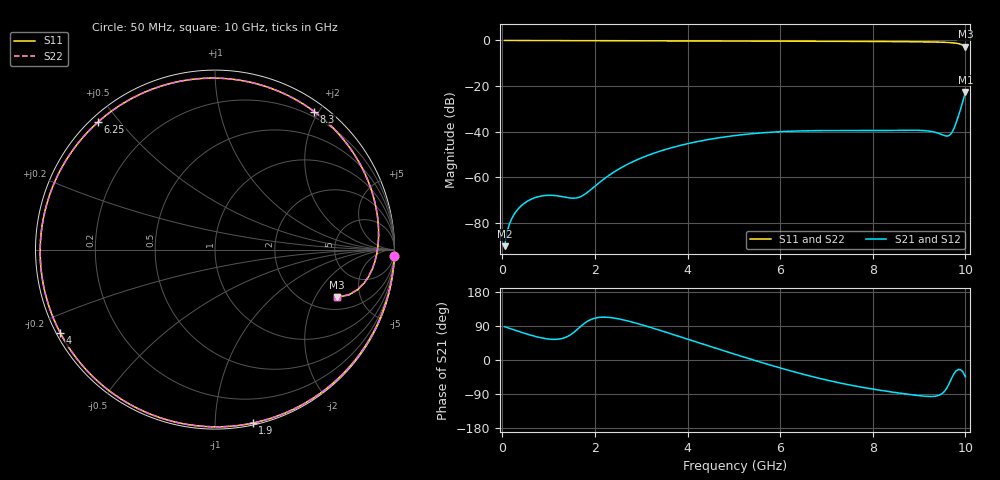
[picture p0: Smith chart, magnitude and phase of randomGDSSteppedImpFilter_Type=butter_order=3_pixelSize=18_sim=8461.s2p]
! freq	dB(S11)	phase(S11)	dB(S12)	phase(S12)
!  dB(S21)	phase(S21)	dB(S22)	phase(S22)
!S-par simulation data
#  GHz  S  DB  R 50
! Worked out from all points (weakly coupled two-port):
!   200 points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, 50 MHz to 10 GHz, reference 50 ohm
!   highest |S21| = -22.57 dB at 10 GHz (marker M1); lowest = -90.1 dB at 50 MHz (marker M2)
!   lowest |S11| = -2.7 dB at 10 GHz (marker M3), VSWR 6.37, Z = 135 - j153 ohm
!   |S11| at or under -10 dB: nowhere
!   |S22| runs from -2.8 to 0.0 dB; largest |S21 - S12| = 0
!   S11 on the Smith chart (normalised r, x): 50 MHz: 0, -53; 1.9 GHz: 0.01, -1.24; 4 GHz: 0.01, -0.25; 6.25 GHz: 0.02, +0.44; 8.3 GHz: 0.13, +1.94; 10 GHz: 2.70, -3.06
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0.05  -0.00 -2.2  -90.08 87.9  -90.08 87.9  -0.00 -2.2
0.15  -0.01 -6.4  -80.61 83.7  -80.61 83.7  -0.01 -6.4
0.4  -0.03 -17.0  -72.57 73.5  -72.57 73.5  -0.03 -17.0
0.7  -0.04 -29.6  -68.90 62.6  -68.90 62.6  -0.04 -29.6
1.25  -0.07 -52.2  -68.21 55.7  -68.21 55.7  -0.07 -52.2
1.55  -0.08 -64.2  -69.08 73.4  -69.08 73.4  -0.08 -64.2
1.75  -0.09 -72.0  -67.76 94.5  -67.76 94.5  -0.09 -72.0
1.9  -0.10 -77.7  -65.52 106.1  -65.52 106.1  -0.10 -77.7
2.6  -0.12 -103.6  -55.35 106.2  -55.35 106.2  -0.12 -103.6
3.4  -0.16 -131.5  -48.51 78.5  -48.51 78.5  -0.16 -131.5
4  -0.18 -151.6  -45.21 55.1  -45.21 55.1  -0.18 -151.6
5.05  -0.24 173.6  -41.58 14.1  -41.58 14.1  -0.24 173.7
5.65  -0.28 153.3  -40.39 -8.4  -40.39 -8.4  -0.28 153.4
6.25  -0.32 132.4  -39.73 -29.5  -39.73 -29.5  -0.32 132.5
6.7  -0.35 116.1  -39.51 -44.0  -39.51 -44.0  -0.35 116.2
7.5  -0.40 85.9  -39.46 -65.8  -39.46 -65.8  -0.40 86.0
8.3  -0.47 54.3  -39.41 -82.5  -39.41 -82.5  -0.47 54.4
8.35  -0.48 52.3  -39.39 -83.4  -39.39 -83.4  -0.48 52.4
9.05  -0.59 23.9  -39.39 -94.7  -39.39 -94.7  -0.59 24.0
9.65  -0.92 -2.1  -41.65 -62.2  -41.65 -62.2  -0.92 -2.0
9.8  -1.21 -9.8  -36.06 -28.6  -36.06 -28.6  -1.21 -9.7
10  -2.75 -21.4  -22.57 -44.7  -22.57 -44.7  -2.76 -21.2
